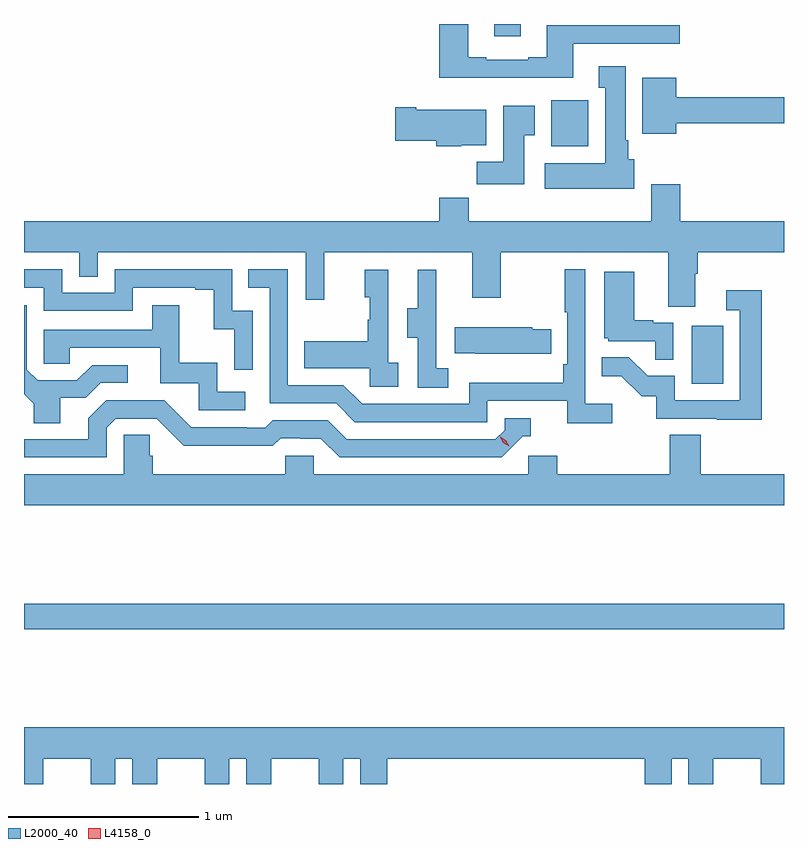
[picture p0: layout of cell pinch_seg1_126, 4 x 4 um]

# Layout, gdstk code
import gdstk
lib = gdstk.Library(unit=1e-6, precision=1e-09)
def R(c, l, rs):  # rectangles x0, y0, x1, y1
    for r in rs: c.add(gdstk.rectangle(r[:2], r[2:], *l))
def P(c, l, *ps):  # polygons
    for p in ps: c.add(gdstk.Polygon(p, *l))
L2000_40 = (2000, 40)
L4158_0 = (4158, 0)

pinch_seg1_126 = lib.new_cell('pinch_seg1_126')
R(pinch_seg1_126, L2000_40, [(1032.975,543.088,1036.975,543.224), (1036.49,544.38,1036.654,544.687), (1035.749,545.63,1035.946,545.872), (1035.449,546.21,1035.589,546.274)])
P(pinch_seg1_126, L2000_40, [(1035.865,546.171),(1036.426,546.171),(1036.426,546.268),(1035.725,546.268),(1035.725,546.1),(1035.629,546.1),(1035.629,546.087),(1035.409,546.087),(1035.409,546.1),(1035.313,546.1),(1035.313,546.274),(1035.161,546.274),(1035.161,545.99),(1035.865,545.99)],
  [(1036.186,545.562),(1036.156,545.562),(1036.156,545.662),(1036.141,545.662),(1036.141,546.052),(1036.001,546.052),(1036.001,545.939),(1036.034,545.939),(1036.034,545.542),(1035.717,545.542),(1035.717,545.408),(1036.186,545.408)],
  [(1036.408,545.752),(1036.975,545.752),(1036.975,545.888),(1036.408,545.888),(1036.408,545.992),(1036.229,545.992),(1036.229,545.696),(1036.408,545.696)],
  [(1035.607,545.689),(1035.664,545.689),(1035.664,545.845),(1035.497,545.845),(1035.497,545.548),(1035.358,545.548),(1035.358,545.43),(1035.607,545.43)],
  [(1035.276,545.636),(1035.409,545.636),(1035.409,545.824),(1035.04,545.824),(1035.04,545.837),(1034.928,545.837),(1034.928,545.659),(1035.146,545.659),(1035.146,545.63),(1035.276,545.63)],
  [(1036.507,544.96),(1036.52,544.96),(1036.52,545.072),(1036.975,545.072),(1036.975,545.236),(1036.43,545.236),(1036.43,545.431),(1036.277,545.431),(1036.277,545.236),(1035.317,545.236),(1035.317,545.36),(1035.161,545.36),(1035.161,545.236),(1032.975,545.236),(1032.975,545.072),(1033.266,545.072),(1033.266,544.945),(1033.362,544.945),(1033.362,545.072),(1034.457,545.072),(1034.457,544.824),(1034.555,544.824),(1034.555,545.072),(1035.335,545.072),(1035.335,544.833),(1035.483,544.833),(1035.483,545.072),(1036.367,545.072),(1036.367,544.786),(1036.507,544.786)],
  [(1036.072,544.276),(1035.93,544.276),(1035.93,544.984),(1035.822,544.984),(1035.822,544.756),(1035.834,544.756),(1035.834,544.483),(1035.814,544.483),(1035.814,544.387),(1035.318,544.387),(1035.318,544.275),(1034.754,544.275),(1034.655,544.374),(1034.364,544.374),(1034.364,544.983),(1034.155,544.983),(1034.155,544.887),(1034.268,544.887),(1034.268,544.278),(1034.618,544.278),(1034.717,544.179),(1035.414,544.179),(1035.414,544.29),(1035.833,544.29),(1035.833,544.174),(1036.072,544.174)],
  [(1034.178,544.764),(1034.07,544.764),(1034.07,544.983),(1033.452,544.983),(1033.452,544.86),(1033.176,544.86),(1033.176,544.983),(1032.975,544.983),(1032.975,544.887),(1033.08,544.887),(1033.08,544.764),(1033.548,544.764),(1033.548,544.887),(1033.877,544.887),(1033.877,544.875),(1033.973,544.875),(1033.973,544.667),(1034.082,544.667),(1034.082,544.455),(1034.178,544.455)],
  [(1034.944,544.49),(1034.892,544.49),(1034.892,544.981),(1034.768,544.981),(1034.768,544.836),(1034.794,544.836),(1034.794,544.718),(1034.784,544.718),(1034.784,544.603),(1034.449,544.603),(1034.449,544.463),(1034.796,544.463),(1034.796,544.365),(1034.944,544.365)],
  [(1035.208,544.463),(1035.144,544.463),(1035.144,544.767),(1035.146,544.767),(1035.146,544.981),(1035.047,544.981),(1035.047,544.779),(1034.993,544.779),(1034.993,544.624),(1035.048,544.624),(1035.048,544.36),(1035.208,544.36)],
  [(1036.392,544.701),(1036.286,544.701),(1036.286,544.714),(1036.186,544.714),(1036.186,544.969),(1036.028,544.969),(1036.028,544.62),(1036.05,544.62),(1036.05,544.605),(1036.297,544.605),(1036.297,544.507),(1036.392,544.507)],
  [(1036.859,544.873),(1036.671,544.873),(1036.671,544.767),(1036.743,544.767),(1036.743,544.293),(1036.401,544.293),(1036.401,544.422),(1036.257,544.422),(1036.159,544.52),(1036.015,544.52),(1036.015,544.421),(1036.119,544.421),(1036.226,544.314),(1036.303,544.314),(1036.303,544.197),(1036.621,544.197),(1036.621,544.192),(1036.859,544.192)],
  [(1034.14,544.338),(1033.992,544.338),(1033.992,544.492),(1033.793,544.492),(1033.793,544.795),(1033.649,544.795),(1033.649,544.665),(1033.08,544.665),(1033.08,544.485),(1033.217,544.485),(1033.217,544.569),(1033.691,544.569),(1033.691,544.383),(1033.896,544.383),(1033.896,544.242),(1034.14,544.242)],
  [(1033.165,544.306),(1033.3,544.306),(1033.38,544.386),(1033.522,544.386),(1033.522,544.479),(1033.334,544.479),(1033.253,544.398),(1033.047,544.398),(1032.99,544.455),(1032.99,544.795),(1032.975,544.795),(1032.975,544.326),(1033.025,544.276),(1033.025,544.174),(1033.165,544.174)],
  [(1035.749,544.668),(1035.651,544.668),(1035.651,544.678),(1035.241,544.678),(1035.241,544.541),(1035.349,544.541),(1035.349,544.538),(1035.749,544.538)],
  [(1033.41,544.149),(1033.458,544.197),(1033.674,544.197),(1033.816,544.055),(1034.052,544.055),(1034.052,544.053),(1034.285,544.053),(1034.327,544.095),(1034.43,544.095),(1034.43,544.092),(1034.537,544.092),(1034.636,543.993),(1035.489,543.993),(1035.6,544.104),(1035.643,544.104),(1035.643,544.2),(1035.504,544.2),(1035.504,544.137),(1035.456,544.089),(1034.673,544.089),(1034.574,544.188),(1034.285,544.188),(1034.246,544.149),(1034.147,544.149),(1034.147,544.152),(1033.854,544.152),(1033.713,544.293),(1033.407,544.293),(1033.313,544.199),(1033.313,544.089),(1032.975,544.089),(1032.975,543.993),(1033.41,543.993)],
  [(1036.975,543.904),(1036.538,543.904),(1036.538,544.112),(1036.373,544.112),(1036.373,543.904),(1035.782,543.904),(1035.782,544.002),(1035.63,544.002),(1035.63,543.904),(1034.499,543.904),(1034.499,544.002),(1034.349,544.002),(1034.349,543.904),(1033.652,543.904),(1033.652,544.002),(1033.637,544.002),(1033.637,544.112),(1033.5,544.112),(1033.5,543.904),(1032.975,543.904),(1032.975,543.74),(1036.975,543.74)],
  [(1033.075,542.408),(1033.325,542.408),(1033.325,542.274),(1033.456,542.274),(1033.456,542.408),(1033.544,542.408),(1033.544,542.274),(1033.675,542.274),(1033.675,542.408),(1033.925,542.408),(1033.925,542.274),(1034.056,542.274),(1034.056,542.408),(1034.144,542.408),(1034.144,542.274),(1034.275,542.274),(1034.275,542.408),(1034.525,542.408),(1034.525,542.274),(1034.656,542.274),(1034.656,542.408),(1034.744,542.408),(1034.744,542.274),(1034.888,542.274),(1034.888,542.408),(1036.241,542.408),(1036.241,542.274),(1036.384,542.274),(1036.384,542.408),(1036.472,542.408),(1036.472,542.274),(1036.603,542.274),(1036.603,542.408),(1036.853,542.408),(1036.853,542.274),(1036.975,542.274),(1036.975,542.572),(1032.975,542.572),(1032.975,542.274),(1033.075,542.274)])
P(pinch_seg1_126, L4158_0, [(1035.528,544.051),(1035.497,544.07),(1035.48,544.103),(1035.48,544.103),(1035.48,544.103),(1035.511,544.084),(1035.528,544.052),(1035.528,544.051)])

lib.write_gds('pinch_seg1_126.gds')
